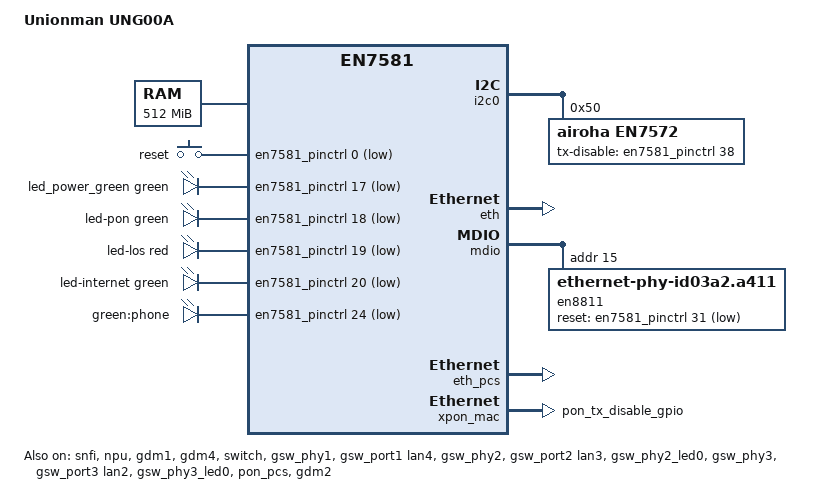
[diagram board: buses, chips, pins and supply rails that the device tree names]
// SPDX-License-Identifier: (GPL-2.0-only OR BSD-2-Clause)
/dts-v1/;

/* Firmware reserves the first 2 MiB of DRAM. */
/memreserve/ 0x80000000 0x200000;

#include <dt-bindings/gpio/gpio.h>
#include <dt-bindings/input/input.h>
#include <dt-bindings/leds/common.h>
#include "an7581.dtsi"

/*
 * UNG00A combines AN7581, an EN7572-compatible optical frontend, EN8811H,
 * and four Ethernet ports. Its wiring is defined independently from the ZN
 * board family.
 */
/ {
	model = "Unionman UNG00A";
	compatible = "unionman,ung00a", "airoha,an7581", "airoha,en7581";

	aliases {
		label-mac-device = &gdm1;
		led-boot = &led_power_green;
		led-failsafe = &led_power_green;
		led-running = &led_power_green;
		led-upgrade = &led_power_green;
		serial0 = &uart1;
	};

	chosen {
		/* fitblk locates the FIT by volume name across factory volume changes. */
		rootdisk = <&ubi_fit>;
		bootargs = "console=ttyS0,115200 earlycon";
		stdout-path = "serial0:115200n8";
	};

	/*
	 * The bootloader updates this node to installed DRAM before bootm.
	 * 512 MiB is the board baseline.
	 */
	memory@80000000 {
		device_type = "memory";
		reg = <0x0 0x80000000 0x0 0x20000000>;
	};

	keys {
		compatible = "gpio-keys";

		key-reset {
			label = "reset";
			linux,code = <KEY_RESTART>;
			/* The reset key is connected to active-low GPIO0. */
			gpios = <&en7581_pinctrl 0 GPIO_ACTIVE_LOW>;
			debounce-interval = <60>;
		};
	};

	leds {
		compatible = "gpio-leds";

		led_power_green: led-power {
			color = <LED_COLOR_ID_GREEN>;
			function = LED_FUNCTION_POWER;
			/* The active-low power LED is connected to GPIO17. */
			gpios = <&en7581_pinctrl 17 GPIO_ACTIVE_LOW>;
			default-state = "on";
			panic-indicator;
		};

		led-pon {
			color = <LED_COLOR_ID_GREEN>;
			function = LED_FUNCTION_WAN;
			/* The active-low PON status LED is connected to GPIO18. */
			gpios = <&en7581_pinctrl 18 GPIO_ACTIVE_LOW>;
			linux,default-trigger = "pon0-registration";
		};

		led-los {
			color = <LED_COLOR_ID_RED>;
			function = LED_FUNCTION_WAN;
			/* The active-low LOS LED is connected to GPIO19. */
			gpios = <&en7581_pinctrl 19 GPIO_ACTIVE_LOW>;
			linux,default-trigger = "pon0-los";
		};

		led-internet {
			color = <LED_COLOR_ID_GREEN>;
			function = LED_FUNCTION_WAN_ONLINE;
			/* The active-low Internet LED is connected to GPIO20. */
			gpios = <&en7581_pinctrl 20 GPIO_ACTIVE_LOW>;
			linux,default-trigger = "pon0-online";
		};

		led-phone {
			label = "green:phone";
			/* The active-low POTS hook LED is connected to GPIO24. */
			gpios = <&en7581_pinctrl 24 GPIO_ACTIVE_LOW>;
		};
	};
};

&en7581_pinctrl {
	gpio-ranges = <&en7581_pinctrl 0 13 50>;

	pon_pins: pon-pins {
		mux {
			/* Leave GPIO38/TX_DISABLE under optical frontend control. */
			function = "pon";
			groups = "pon_tx_disable_gpio";
		};
	};

	mdio_pins: mdio-pins {
		mux {
			function = "mdio";
			groups = "mdio";
		};
	};

	gswp2_led0_pins: gswp2-led0-pins {
		mux {
			function = "phy2_led0";
			pins = "gpio44";
		};
	};

	gswp3_led0_pins: gswp3-led0-pins {
		mux {
			function = "phy3_led0";
			pins = "gpio45";
		};
	};
};

&snfi {
	status = "okay";
};

&spi_nand {
	/*
	 * The SPI NAND uses 2 KiB pages, 128 KiB eraseblocks, and 256 MiB capacity.
	 * The generic compatible keeps chip selection under READ ID probing.
	 */
	nand-ecc-engine = <&spi_nand>;

	partitions: partitions {
		compatible = "fixed-partitions";
		#address-cells = <1>;
		#size-cells = <1>;

		/* BootROM reads the BL2 FIP at offset 0x800 in the first eraseblock. */
		partition@0 {
			label = "bl2";
			reg = <0x00000000 0x00020000>;
			read-only;
		};

		/*
		 * UBI manages every eraseblock after BL2. The factory volume preserves
		 * per-device reservearea field offsets.
		 */
		partition@20000 {
			label = "ubi";
			reg = <0x00020000 0x00000000>;
			compatible = "linux,ubi";

			volumes {
				ubi_fip: ubi-volume-fip {
					volname = "fip";
				};

				ubi_env: ubi-volume-ubootenv {
					volname = "ubootenv";
				};

				ubi_env2: ubi-volume-ubootenv2 {
					volname = "ubootenv2";
				};

				factory: ubi-volume-factory {
					volname = "factory";

					ung00a_proline_layout: nvmem-layout {
						compatible = "fixed-layout";
						#address-cells = <1>;
						#size-cells = <1>;

						/* The production base MAC uses 12 hexadecimal ASCII characters. */
						macaddr_factory: mac-address@141021 {
							compatible = "mac-base";
							reg = <0x00141021 0x0000000c>;
							#nvmem-cell-cells = <1>;
						};

						pon_serial: pon-serial@14105a {
							reg = <0x0014105a 0x0000000c>;
						};

						/* Optical calibration retains its reservearea offset. */
						pon_calibration: calibration@1c0400 {
							reg = <0x001c0400 0x00000200>;
						};
					};
				};

				ubi_fit: ubi-volume-fit {
					volname = "fit";
				};
			};
		};
	};
};

&ubi_env {
	nvmem-layout {
		compatible = "u-boot,env-redundant-bool-layout";
	};
};

&ubi_env2 {
	nvmem-layout {
		compatible = "u-boot,env-redundant-bool-layout";
	};
};

&i2c0 {
	status = "okay";

	en7572: optical-front-end@50 {
		compatible = "airoha,en7572";
		reg = <0x50>;
		/* GPIO38 high disables upstream optical transmission. */
		tx-disable-gpios = <&en7581_pinctrl 38 GPIO_ACTIVE_HIGH>;
		nvmem-cells = <&pon_calibration>;
		nvmem-cell-names = "calibration";
	};
};

&npu {
	status = "okay";
};

&eth {
	status = "okay";
};

&gdm1 {
	/* The switch CPU port uses the production base MAC. */
	nvmem-cells = <&macaddr_factory 0>;
	nvmem-cell-names = "mac-address";
	status = "okay";
};

&mdio {
	/*
	 * EN8811H uses MDIO address 0x0f and active-low GPIO31 reset.
	 * The reset sequence completes before MD32 firmware loading.
	 */
	en8811: ethernet-phy@f {
		compatible = "ethernet-phy-id03a2.a411";
		reg = <0xf>;
		reset-gpios = <&en7581_pinctrl 31 GPIO_ACTIVE_LOW>;
		reset-assert-us = <10000>;
		reset-deassert-us = <20000>;

		leds {
			#address-cells = <1>;
			#size-cells = <0>;

			led-0 {
				reg = <0>;
				color = <LED_COLOR_ID_GREEN>;
				function = LED_FUNCTION_LAN;
				function-enumerator = <1>;
				default-state = "keep";
			};
		};
	};
};

&eth_pcs {
	/* HSGMII carries the EN8811H 2500BASE-X host link. */
	status = "okay";
};

&gdm4 {
	openwrt,netdev-name = "lan1";
	phy-handle = <&en8811>;
	phy-mode = "2500base-x";
	nvmem-cells = <&macaddr_factory 1>;
	nvmem-cell-names = "mac-address";
	status = "okay";
};

&switch {
	pinctrl-names = "default";
	pinctrl-0 = <&mdio_pins>;
	status = "okay";
};

/*
 * Panel LAN2, LAN3, and LAN4 map to switch ports 3, 2, and 1.
 * Their PHY addresses are 0x0b, 0x0a, and 0x09, and link state uses polling.
 */
&gsw_phy1 {
	status = "okay";
};

&gsw_port1 {
	label = "lan4";
	status = "okay";
};

&gsw_phy2 {
	interrupts = <2>;
	pinctrl-names = "gbe-led";
	pinctrl-0 = <&gswp2_led0_pins>;
	status = "okay";
};

&gsw_port2 {
	label = "lan3";
	status = "okay";
};

&gsw_phy2_led0 {
	color = <LED_COLOR_ID_GREEN>;
	function = LED_FUNCTION_LAN;
	function-enumerator = <3>;
	active-low;
	status = "okay";
};

&gsw_phy3 {
	interrupts = <3>;
	pinctrl-names = "gbe-led";
	pinctrl-0 = <&gswp3_led0_pins>;
	status = "okay";
};

&gsw_port3 {
	label = "lan2";
	status = "okay";
};

&gsw_phy3_led0 {
	color = <LED_COLOR_ID_GREEN>;
	function = LED_FUNCTION_LAN;
	function-enumerator = <2>;
	active-low;
	status = "okay";
};

&pon_pcs {
	status = "okay";
};

&xpon_mac {
	pinctrl-names = "default";
	pinctrl-0 = <&pon_pins>;
	optical-front-end = <&en7572>;
	nvmem-cells = <&pon_serial>;
	nvmem-cell-names = "pon-serial";
	data-path = <&gdm2>;
	status = "okay";
};

&gdm2 {
	nvmem-cells = <&macaddr_factory 0>;
	nvmem-cell-names = "mac-address";
	airoha,pon-data-path;
	status = "okay";
};
